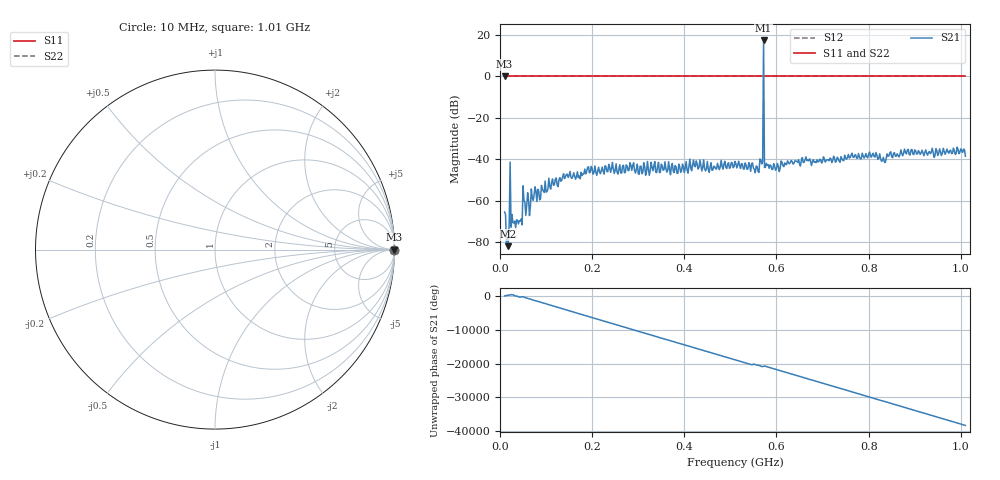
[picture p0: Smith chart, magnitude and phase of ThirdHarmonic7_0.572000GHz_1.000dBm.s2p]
! 8/17/2025 5:39:19 PM
! C:\ANRITSUVNA\TEMP\TEMP.S2P
! CHANNEL.1
! TR.MEASUREMENT
! RAW.DATA
! RF.CORRECTION.OFF
! AVERAGING.OFF
! IF.BANDWIDTH: 5KHZ
! SWEEPTYPE:  FREQ.SWEEP(Linear)
! Reference Plane Port Info
! PORT:  PORT1  PORT2
! DISTANCE:  0  m  0  m
! TIME:  0  s  0  s
! PHASE.OFFSET:  0  deg.  0  deg.
! LOSS:  0  dB  0  dB
! REF.LOSS:  0  dB  0  dB
! REF.FREQ:  0  Hz  0  Hz
! Power Info
! POWER:  -20  dBm  -20  dBm
! EFF.POWER:  -20  dBm  -20  dBm
! SOURCE.ATTEN:  0  dB  0  dB
! TEST.ATTEN:  0  dB  0  dB
# GHZ S RI R 50.0
! FREQ.GHZ  S11RE  S11IM  S21RE  S21IM  S12RE  S12IM  S22RE  S22IM
!; PortSelection: Port_12
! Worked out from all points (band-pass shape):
!   501 points, 10 MHz to 1.01 GHz, reference 50 ohm
!   highest |S21| = 17.33 dB at 572 MHz (marker M1); lowest = -82.0 dB at 18 MHz (marker M2)
!   |S21| within 3 dB of the highest: 571.8977 MHz to 572.0978 MHz (200.1 kHz wide, 0.035 % of centre)
!   lowest |S11| = 0.0 dB at 10 MHz (marker M3)
!   |S11| at or under -10 dB: nowhere
!   |S22| runs from 0.0 to 0.0 dB; largest |S21 - S12| = 6.8
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0.01  1 0  0.000201 -0.000492  1 0  1 0
0.016  1 0  9.91e-05 7.08e-05  1 0  1 0
0.018  1 0  -6.61e-05 -4.39e-05  1 0  1 0
0.024  1 0  0.000203 -0.000103  1 0  1 0
0.028  1 0  7.46e-05 -0.000285  1 0  1 0
0.044  1 0  -2.04e-05 -0.00032  1 0  1 0
0.054  1 0  -0.000842 0.000382  1 0  1 0
0.06  1 0  0.00119 -0.000994  1 0  1 0
0.072  1 0  -0.000808 0.000616  1 0  1 0
0.178  1 0  -0.00394 -0.000841  1 0  1 0
0.344  1 0  0.00773 -0.00324  1 0  1 0
0.51  1 0  -0.00871 -0.00159  1 0  1 0
0.558  1 0  0.00351 0.00567  1 0  1 0
0.566  1 0  -0.00202 0.00939  1 0  1 0
0.568  1 0  0.00741 0.00196  1 0  1 0
0.572  1 0  4.581 5.75  1 0  1 0
0.576  1 0  0.00301 0.00559  1 0  1 0
0.578  1 0  0.00777 -0.0015  1 0  1 0
0.678  1 0  0.00491 -0.00714  1 0  1 0
0.832  1 0  -0.00693 -0.00863  1 0  1 0
0.844  1 0  -0.0069 0.00982  1 0  1 0
1.01  1 0  0.000822 -0.0117  1 0  1 0
